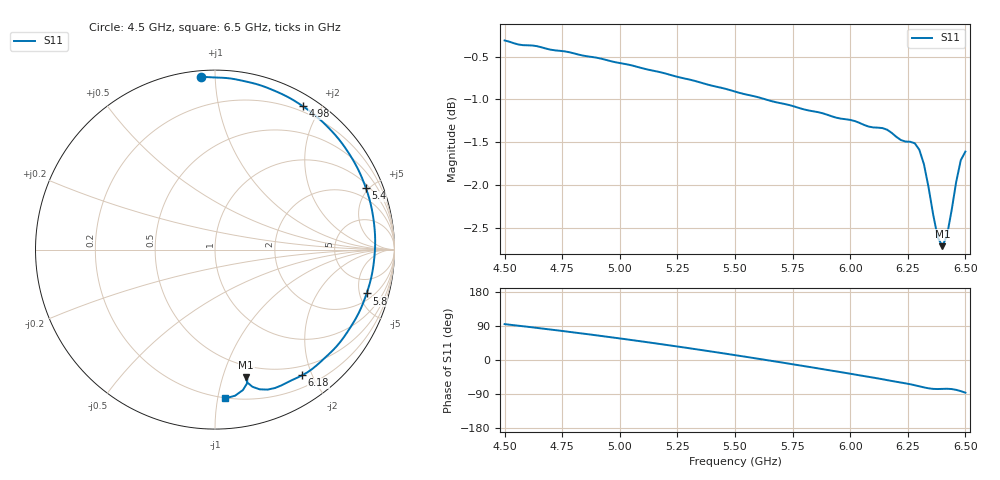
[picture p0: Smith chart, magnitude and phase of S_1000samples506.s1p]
! TOUCHSTONE file generated by CST MICROWAVE STUDIO
! Date and time: Fri Oct 28 09:58:50 2022
! Project name: L.cst
! Parameters = {Di=1.27; Epsilon_r=1.56; InnerDiameter=1.27; Length=2; Lf=10; Lg=60; OuterConductorThickness=0.2921; OuterDiameter=3.6; Wf=3; Wp=41.2; de=1.5; df=6.8; g=0.8; gx=2.62288; gy=4.38148; h=2.34; hf=1.524; px=8.08805; py=14.6262; w=9.7; wx=5.46518; wy=10.2447}
! Header version: 2018
! Port assignment regex: !\s*Touchstone port\s*([0-9]+)\s*=\s*(CST MWS port|CST DS port)\s*([0-9]+|Zmin|Zmax)\s*\(\"(.*)\"\)(\s*mode\s*([0-9]+))?.*
! Touchstone port assignment:
! Touchstone port 1 = CST MWS port 1 ("")
# GHz S DB R 50
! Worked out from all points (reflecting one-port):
!   101 points, 4.5 GHz to 6.5 GHz, reference 50 ohm
!   lowest |S11| = -2.7 dB at 6.4 GHz (marker M1), VSWR 6.47, Z = 19.5 - j59.9 ohm
!   phase of S11 starts at 95 deg and turns -181 deg over the sweep
!   S11 on the Smith chart (normalised r, x): 4.5 GHz: 0.03, +0.92; 4.98 GHz: 0.14, +1.78; 5.4 GHz: 1.24, +4.81; 5.8 GHz: 2.71, -5.83; 6.18 GHz: 0.36, -1.85; 6.5 GHz: 0.20, -1.05
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4.5  -0.31 94.7
4.64  -0.38 84.7
4.76  -0.44 75.9
4.88  -0.51 66.6
4.98  -0.57 58.5
5  -0.58 56.9
5.14  -0.66 45.2
5.26  -0.74 34.7
5.4  -0.84 22.1
5.5  -0.91 12.8
5.62  -0.99 1.4
5.76  -1.08 -12.2
5.8  -1.12 -16.1
5.88  -1.16 -24.1
6  -1.24 -36.2
6.12  -1.33 -48.6
6.18  -1.39 -55.3
6.26  -1.49 -63.9
6.3  -1.58 -69.4
6.34  -2.02 -74.7
6.36  -2.34 -76.2
6.38  -2.60 -76.6
6.4  -2.71 -76.2
6.42  -2.58 -75.9
6.44  -2.29 -76.6
6.46  -1.96 -78.8
6.48  -1.71 -82.2
6.5  -1.61 -86.3
